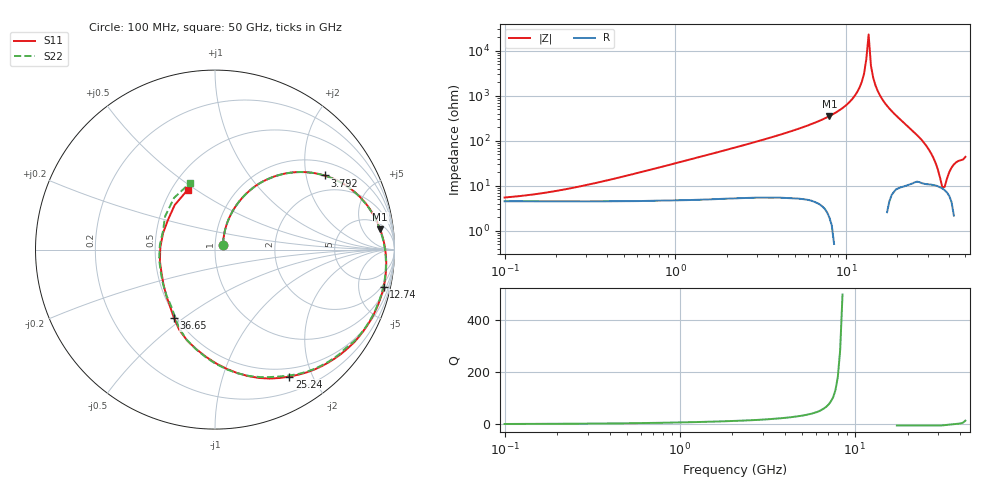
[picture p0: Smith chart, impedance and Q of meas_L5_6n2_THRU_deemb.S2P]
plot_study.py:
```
"""Regenerate the L6n2 openEMS study's differential L/Q/R plots.

Same calculation, axis limits, colors and line styles as the gds2palace L6n2 study
(gds2palace_ihp_sg13g2/more_examples/measured_vs_simulated/more_accurate_models_L6n2/results/plot_study.py),
so the plots of both studies compare directly.

usage: python plot_study.py [study_dir] [out_dir]
defaults: the study folder this script sits in (results/..), and results/plots
"""
import math
import os
import sys

import matplotlib
matplotlib.use("Agg")
from matplotlib import pyplot as plt
import skrf as rf

here = os.path.dirname(os.path.abspath(__file__))
study_dir = sys.argv[1] if len(sys.argv) > 1 else os.path.dirname(here)
out_dir = sys.argv[2] if len(sys.argv) > 2 else os.path.join(here, "plots")
res = os.path.join(study_dir, "results")


def run(name, label):
    return (os.path.join(res, name + ".s2p"), label)


MEAS = (os.path.join(study_dir, "meas_L5_6n2_THRU_deemb.S2P"), "Measured (de-embedded)")
MESH1 = run("run_L6n2_mesh1", "Sim: via merge, no correction, 1 µm mesh")
E40_0U5_CORR = run("run_L6n2_mergecorrection_mesh0u5", "Sim: via merge + correction, 0.5 µm mesh")
E40 = run("run_L6n2_mergecorrection_sweep_mesh1_limit-40", "Sim: end criterion -40 dB")
E40_2UM = run("run_L6n2_mergecorrection_sweep_mesh2_limit-40", "Sim: via merge + correction, 2 µm mesh")
E40_CORR = run("run_L6n2_mergecorrection_sweep_mesh1_limit-40", "Sim: via merge + correction, 1 µm mesh")
E50 = run("run_L6n2_mergecorrection_sweep_mesh1_limit-50", "Sim: end criterion -50 dB")
E60 = run("run_L6n2_mergecorrection_sweep_mesh1_limit-60", "Sim: end criterion -60 dB")
PLANAR_2UM = run("run_L6n2_mergecorrection_sweep_mesh2_limit-60", "Sim: planar passivation, 2 µm mesh")
PASSICUT_2UM = run("run_L6n2_mergecorrection_passicut_sweep_mesh2_limit-60", "Sim: passivation cut, 2 µm mesh")
PASSICUT_1UM = run("run_L6n2_mergecorrection_passicut_sweep_mesh1_limit-60", "Sim: passivation cut, 1 µm mesh")
OEMS_1UM = run("run_L6n2_mergecorrection_passicut_sweep_mesh1_limit-60", "openEMS: passivation cut, 1 µm mesh, -60 dB")
PALACE_REC = run("palace_L6n2_with_ports_2um_passicut", "Palace: passivation cut, filled metals, 2 µm mesh")

PLOTS = {
    "step1_via_merge_correction.png": [MEAS, MESH1, E40_CORR],
    "step2_mesh.png": [MEAS, E40_2UM, E40_CORR, E40_0U5_CORR],
    "step3_energy_limit.png": [MEAS, E40, E50, E60],
    "step4_passicut_2um.png": [MEAS, PLANAR_2UM, PASSICUT_2UM],
    "step4_passicut_1um.png": [MEAS, PASSICUT_2UM, PASSICUT_1UM],
    "openems_vs_palace.png": [MEAS, OEMS_1UM, PALACE_REC],
}

colors = ['b', 'r', 'm', 'c', 'g', 'y', 'k', 'w']
linestyles = ['solid', 'dashed', 'dashdot', 'dotted', 'solid', 'dashed', 'dashdot', 'dotted']


def get_diff_model(sub):
    z11 = sub.z[:, 0, 0]
    z21 = sub.z[:, 1, 0]
    z12 = sub.z[:, 0, 1]
    z22 = sub.z[:, 1, 1]
    Zdiff = z11 - z12 - z21 + z22
    freq = sub.frequency.f
    omega = freq * 2 * math.pi
    return freq, Zdiff.real, Zdiff.imag / omega, Zdiff.imag / Zdiff.real


def plot(entries, out_path):
    networks = []
    global_fmax = math.inf
    for path, label in entries:
        nw = rf.Network(path)
        networks.append((nw, label))
        global_fmax = min(global_fmax, max(nw.frequency.f))
    fspec = str(int(100e6 / 1e6)) + '-' + str(int(global_fmax / 1e6)) + 'mhz'

    Lmin, Rmin, Qmax = math.inf, math.inf, 0
    for nw, _ in networks:
        freq0, Rdiff0, Ldiff0, Qdiff0 = get_diff_model(nw[fspec])
        Lmin = min(Lmin, Ldiff0[1] * 1e9)
        Rmin = min(Rmin, Rdiff0[1])
        Qmax = max(Qmax, max(Qdiff0))
    # like plot_inductor: SRF-based x range from the LAST file's data
    srf_index = rf.util.find_nearest_index(Ldiff0, min(Ldiff0))
    plot_fmax_ghz = 1.2 * freq0[srf_index] / 1e9 if srf_index > 20 else global_fmax / 1e9

    fig, axes = plt.subplots(2, 2, figsize=(12, 9))
    fig.suptitle("Differential Inductor Parameters")
    panels = [
        (axes[0, 0], lambda f, R, L, Q: L * 1e9, "Diff. Inductance (nH)", (0, 3 * Lmin), plot_fmax_ghz),
        (axes[0, 1], lambda f, R, L, Q: Q, "Diff. Q factor", (0, 1.2 * Qmax), plot_fmax_ghz),
        (axes[1, 0], lambda f, R, L, Q: R, "Diff. Resistance (Ohm)", (0, 5 * Rmin), plot_fmax_ghz),
        (axes[1, 1], lambda f, R, L, Q: R, "Diff. Resistance (Ohm)", (0.5 * Rmin, 3 * Rmin), 4.0),  # low-frequency detail, fixed 4 GHz
    ]
    for ax, value, ylabel, ylim, xmax in panels:
        ax.set_ylim(*ylim)
        ax.set_xlim(0, xmax)
        for n, (nw, label) in enumerate(networks):
            freq, R, L, Q = get_diff_model(nw[fspec])
            ax.plot(freq / 1e9, value(freq, R, L, Q), color=colors[n % 8], linestyle=linestyles[n % 8], label=label)
        ax.set_xlabel("Frequency (GHz)")
        ax.set_ylabel(ylabel)
        ax.set_xmargin(0)
        ax.legend(fontsize=9)
        ax.grid()
    fig.tight_layout()
    fig.savefig(out_path, dpi=125)
    plt.close(fig)
    print("wrote", out_path)


def plot_ripple(reference, others, pulse_center_ps, out_path, fmax_ghz=8):
    """Difference in differential resistance of each run vs. a reference run of the same model.
    others: list of (path, label, stop_time_ps). S-parameters are referenced to the incident pulse,
    so the ripple period is 1/(stop time - pulse center), with a zero crossing every half period."""
    ref = rf.Network(reference[0])
    fr, Rr, _, _ = get_diff_model(ref['100-' + str(int(max(ref.frequency.f) / 1e6)) + 'mhz'])
    fig, ax = plt.subplots(figsize=(9, 4.5))
    ax.axhline(0, color='k', linewidth=0.8)
    for n, (path, label, stop_ps) in enumerate(others):
        nw = rf.Network(path)
        freq, R, _, _ = get_diff_model(nw['100-' + str(int(max(nw.frequency.f) / 1e6)) + 'mhz'])
        m = freq <= fmax_ghz * 1e9
        dR = (R - Rr)[m]
        ymax = max(ymax, abs(dR).max()) if n else abs(dR).max()
        ax.plot(freq[m] / 1e9, dR, color=colors[n % 8], linestyle=linestyles[n % 8],
                label=f"{label}: stops {stop_ps - pulse_center_ps:.0f} ps after pulse center, "
                      f"expected ripple period {1e3 / (stop_ps - pulse_center_ps):.1f} GHz")
    ax.set_xlim(0, fmax_ghz)
    ax.set_ylim(-1.2 * ymax, 1.2 * ymax)
    ax.set_xlabel("Frequency (GHz)")
    ax.set_ylabel("Diff. resistance minus " + reference[1] + " (Ohm)")
    ax.set_title("Truncation ripple: difference to the " + reference[1] + " run")
    ax.legend(fontsize=9)
    ax.grid()
    fig.tight_layout()
    fig.savefig(out_path, dpi=125)
    plt.close(fig)
    print("wrote", out_path)


os.makedirs(out_dir, exist_ok=True)
for name, entries in PLOTS.items():
    plot(entries, os.path.join(out_dir, name))

# stop times from the end of the port probe signals, see plot_time_signals.py
plot_ripple((E60[0], "-60 dB"),
            [(E40[0], "end criterion -40 dB", 401.8), (E50[0], "end criterion -50 dB", 491.1)],
            204.7,  # center of the 409 ps fstop 14 GHz excitation pulse
            os.path.join(out_dir, "step3_ripple.png"))
```
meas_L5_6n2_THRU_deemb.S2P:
!  2-Port S-parameters saved by WinCal
! VAR NAME=L5_THRU_deemb
! VAR ObjTypeName=DATASET
! VAR IndexType=Frequency
! VAR FILENAME=meas_L5_6n2_THRU_deemb_GSG_PQD701W03Cx2y7.S2P
# Hz S RI R 50
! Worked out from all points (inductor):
!   201 points, 100 MHz to 50 GHz, reference 50 ohm
!   read as one part in series: L = 4.97 nH near 444.4 MHz
!   highest Q = 181 at 7.994 GHz (marker M1), where L = 7.07 nH
!   self-resonance near 13.14 GHz
!   S11 on the Smith chart (normalised r, x): 100 MHz: 1.09, +0.06; 3.792 GHz: 1.42, +2.56; 12.74 GHz: 1.58, -8.88; 25.24 GHz: 0.39, -1.68; 36.65 GHz: 0.49, -0.46; 50 GHz: 0.60, +0.46
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1e8  0.0441 0.0259  0.9554 -0.0308  0.9556 -0.0308  0.0442 0.0259
2.236068e9  0.3439 0.4119  0.6334 -0.4653  0.6333 -0.4651  0.3439 0.4115
3.792254e9  0.6106 0.413  0.358 -0.4921  0.3579 -0.4919  0.6105 0.4124
7.994179e9  0.9204 0.1124  0.0329 -0.2631  0.0329 -0.263  0.9195 0.1112
1.27408e10  0.9396 -0.2077  -0.00947 -0.0293  -0.00947 -0.0293  0.9373 -0.2094
1.355771e10  0.9269 -0.2559  -0.00217 0.00345  -0.00218 0.00347  0.9244 -0.2575
1.39856e10  0.9187 -0.2804  0.00285 0.0198  0.00286 0.0198  0.9161 -0.2818
1.535203e10  0.887 -0.355  0.0246 0.0684  0.0246 0.0684  0.8838 -0.3564
2.523965e10  0.4135 -0.7076  0.3721 0.2029  0.3719 0.2029  0.4097 -0.7019
3.664557e10  -0.2292 -0.3796  0.6177 -0.3181  0.6176 -0.3175  -0.2247 -0.3711
5e10  -0.1523 0.3334  -0.1609 -0.5116  -0.1605 -0.5112  -0.1409 0.3694
